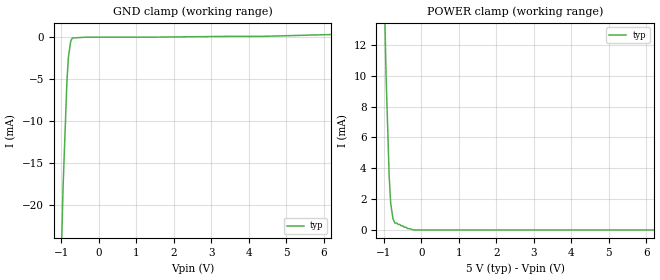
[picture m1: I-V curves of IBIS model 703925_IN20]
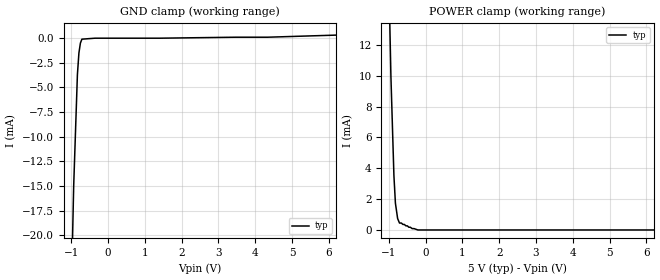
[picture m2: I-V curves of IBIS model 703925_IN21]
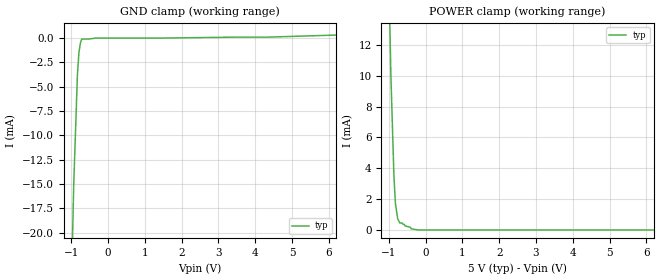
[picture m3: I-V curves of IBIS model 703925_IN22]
| YOU ARE ONLY AUTHORIZED TO USE THIS SOFTWARE
| ACCORDING TO LICENSOR'S LICENSE RESTRICTIONS.
[IBIS Ver] 3.1
[File Name] mc100ep101fa_5v.ibs
[File Rev] 2.0
[Source] Measured and created by ICX Technology
[Date] Friday 6/1/01 3:31:09 PM
[Copyright]
| (C) COPYRIGHT 1993-2001
| MENTOR GRAPHICS CORPORATION
| ICX STANDARD LIBRARY, ICX PROJECT MODELING,
| ICX CUSTOM MODELING, ICX VENDOR MODEL
| ALL RIGHTS RESERVED.
| THE FOLLOWING ARE TRADEMARKS OR SERVICE MARKS OF
| MENTOR GRAPHICS CORPORATION:ICX (R), ICX STANDARD
| LIBRARY(R), ICX PROJECT MODELING(R), ICX CUSTOM
| MODELING(R), qualityIBIS(TM), MODELVIEWER(TM),
| AND MODELEDITOR(TM)
| ALL COPIES OF SOFTWARE, INCLUDING BUT NOT LIMITED TO
| ANY MODIFICATIONS, ENHANCEMENTS OR DERIVATIVE WORKS,
| MUST CONTAIN ALL MENTOR GRAPHICS CORPORATION'S
| NOTICES AND LEGENDS, INCLUDING THOSE EMBEDDED IN
| SOFTWARE AND THOSE AFFIXED TO SOFTWARE MEDIUM
| AND CONTAINER, AS RECEIVED FROM MENTOR GRAPHICS
| CORPORATION.
|  ZAP Model Builder 3.1
[Component] MC100EP101FA_5v
[Manufacturer] OnSemico
[Package]
| variable   typ   min   max
R_pkg  .067ohms NA NA
L_pkg  4.211nH NA NA
C_pkg  1.002pF NA NA
[Pin] signal_name  model_name  R_pin  L_pin C_pin
1 VCC POWER .065 3.973n .928p
2 _Q1 703925_OUT2 .066 4.127n .978p
3 Q1 703925_OUT7 .068 4.288n 1.027p
4 _Q2 703925_OUT2 .069 4.455n 1.077p
5 Q2 703925_OUT7 .069 4.455n 1.077p
6 _Q3 703925_OUT2 .068 4.288n 1.027p
7 Q3 703925_OUT7 .066 4.127n .978p
8 VCC POWER .065 3.973n .928p
9 NC NC .065 3.973n .928p
10 VEE GND .066 4.127n .978p
11 D3D 703925_IN20 .068 4.288n 1.027p
12 D3C 703925_IN21 .069 4.455n 1.077p
13 VCC POWER .069 4.455n 1.077p
14 D3B 703925_IN22 .068 4.288n 1.027p
15 D3A 703925_IN23 .066 4.127n .978p
16 D2D 703925_IN20 .065 3.973n .928p
17 D2C 703925_IN21 .065 3.973n .928p
18 D2B 703925_IN22 .066 4.127n .978p
19 D2A 703925_IN23 .068 4.288n 1.027p
20 D1D 703925_IN20 .069 4.455n 1.077p
21 D1C 703925_IN21 .069 4.455n 1.077p
22 D1B 703925_IN22 .068 4.288n 1.027p
23 D1A 703925_IN23 .066 4.127n .978p
24 D0D 703925_IN20 .065 3.973n .928p
25 D0C 703925_IN21 .065 3.973n .928p
26 D0B 703925_IN22 .066 4.127n .978p
27 D0A 703925_IN23 .068 4.288n 1.027p
28 VEE GND .069 4.455n 1.077p
29 _Q0 703925_OUT2 .069 4.455n 1.077p
30 Q0 703925_OUT7 .068 4.288n 1.027p
31 VCC POWER .066 4.127n .978p
32 VCC POWER .065 3.973n .928p
| Models and submodels in the file (6): 703925_IN20 (Input_ECL), 703925_IN21 (Input_ECL), 703925_IN22 (Input_ECL), 703925_IN23 (Input_ECL), 703925_OUT2 (Output_ECL), 703925_OUT7 (Output_ECL)
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| (C) COPYRIGHT 1993-2001
| MENTOR GRAPHICS CORPORATION
| ICX STANDARD LIBRARY, ICX PROJECT MODELING,
| ICX CUSTOM MODELING, ICX VENDOR MODEL
| ALL RIGHTS RESERVED.
| THE FOLLOWING ARE TRADEMARKS OR SERVICE MARKS OF
| MENTOR GRAPHICS CORPORATION:ICX (R), ICX STANDARD
| LIBRARY(R), ICX PROJECT MODELING(R), ICX CUSTOM
| MODELING(R), qualityIBIS(TM), MODELVIEWER(TM),
| AND MODELEDITOR(TM)
| ALL COPIES OF SOFTWARE, INCLUDING BUT NOT LIMITED TO
| ANY MODIFICATIONS, ENHANCEMENTS OR DERIVATIVE WORKS,
| MUST CONTAIN ALL MENTOR GRAPHICS CORPORATION'S
| NOTICES AND LEGENDS, INCLUDING THOSE EMBEDDED IN
| SOFTWARE AND THOSE AFFIXED TO SOFTWARE MEDIUM
| AND CONTAINER, AS RECEIVED FROM MENTOR GRAPHICS
| CORPORATION.
| Model Application Version 1.89 2/18/99.
[Model] 703925_IN20
Model_type Input_ECL
Vinl = 3.375V
Vinh = 3.775V
C_comp 4.000pF NA NA
| variable typ   min   max
[Voltage Range] 5.000V NA NA
[GND Clamp Reference] 0.000V NA NA
[POWER Clamp Reference] 5.000V NA NA
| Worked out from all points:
|   GND clamp passes 1 mA (typ) near -0.77 V on its own axis
|   POWER clamp passes 1 mA (typ) near -0.77 V on its own axis
[GND Clamp]
-5V       -887.5mA   NA         NA
-1.074V   -38.7mA    NA         NA
-952mV    -17.7mA    NA         NA
-851mV    -5.3mA     NA         NA
-811mV    -2.4mA     NA         NA
-750mV    -500uA     NA         NA
-709mV    -100uA     NA         NA
-354.5mV  0A         NA         NA
1.409V    0A         NA         NA
3.486V    100uA      NA         NA
4.348V    100uA      NA         NA
10V       756.1uA    NA         NA
[POWER Clamp]
-5V       580.8mA    NA         NA
-1.061V   23.7mA     NA         NA
-939mV    9.915mA    NA         NA
-858mV    3.525mA    NA         NA
-817mV    1.729mA    NA         NA
-757mV    736.4uA    NA         NA
-706mV    448.2uA    NA         NA
-655mV    448.2uA    NA         NA
-614.5mV  357.6uA    NA         NA
-361.5mV  88.16uA    NA         NA
-207.3mV  0A         NA         NA
10V       0A         NA         NA
| (C) COPYRIGHT 1993-2001
| MENTOR GRAPHICS CORPORATION
| ICX STANDARD LIBRARY, ICX PROJECT MODELING,
| ICX CUSTOM MODELING, ICX VENDOR MODEL
| ALL RIGHTS RESERVED.
| THE FOLLOWING ARE TRADEMARKS OR SERVICE MARKS OF
| MENTOR GRAPHICS CORPORATION:ICX (R), ICX STANDARD
| LIBRARY(R), ICX PROJECT MODELING(R), ICX CUSTOM
| MODELING(R), qualityIBIS(TM), MODELVIEWER(TM),
| AND MODELEDITOR(TM)
| ALL COPIES OF SOFTWARE, INCLUDING BUT NOT LIMITED TO
| ANY MODIFICATIONS, ENHANCEMENTS OR DERIVATIVE WORKS,
| MUST CONTAIN ALL MENTOR GRAPHICS CORPORATION'S
| NOTICES AND LEGENDS, INCLUDING THOSE EMBEDDED IN
| SOFTWARE AND THOSE AFFIXED TO SOFTWARE MEDIUM
| AND CONTAINER, AS RECEIVED FROM MENTOR GRAPHICS
| CORPORATION.
| Model Application Version 1.89 2/18/99.
[Model] 703925_IN21
Model_type Input_ECL
Vinl = 3.375V
Vinh = 3.775V
C_comp 4.000pF NA NA
| variable typ   min   max
[Voltage Range] 5.000V NA NA
[GND Clamp Reference] 0.000V NA NA
[POWER Clamp Reference] 5.000V NA NA
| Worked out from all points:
|   GND clamp passes 1 mA (typ) near -0.77 V on its own axis
|   POWER clamp passes 1 mA (typ) near -0.77 V on its own axis
[GND Clamp]
-5V       -876.8mA   NA         NA
-1.074V   -39.1mA    NA         NA
-932mV    -15mA      NA         NA
-831mV    -3.7mA     NA         NA
-790mV    -1.5mA     NA         NA
-750mV    -500uA     NA         NA
-709mV    -100uA     NA         NA
-354.5mV  0A         NA         NA
1.399V    0A         NA         NA
3.466V    100uA      NA         NA
4.338V    100uA      NA         NA
10V       749.7uA    NA         NA
[POWER Clamp]
-5V       572.4mA    NA         NA
-1.061V   23.6mA     NA         NA
-939mV    9.916mA    NA         NA
-858mV    3.526mA    NA         NA
-817mV    1.73mA     NA         NA
-757mV    737.1uA    NA         NA
-706mV    448.8uA    NA         NA
-655mV    448.8uA    NA         NA
-614.5mV  358.1uA    NA         NA
-361.5mV  88.3uA     NA         NA
-207.3mV  0A         NA         NA
10V       0A         NA         NA
| (C) COPYRIGHT 1993-2001
| MENTOR GRAPHICS CORPORATION
| ICX STANDARD LIBRARY, ICX PROJECT MODELING,
| ICX CUSTOM MODELING, ICX VENDOR MODEL
| ALL RIGHTS RESERVED.
| THE FOLLOWING ARE TRADEMARKS OR SERVICE MARKS OF
| MENTOR GRAPHICS CORPORATION:ICX (R), ICX STANDARD
| LIBRARY(R), ICX PROJECT MODELING(R), ICX CUSTOM
| MODELING(R), qualityIBIS(TM), MODELVIEWER(TM),
| AND MODELEDITOR(TM)
| ALL COPIES OF SOFTWARE, INCLUDING BUT NOT LIMITED TO
| ANY MODIFICATIONS, ENHANCEMENTS OR DERIVATIVE WORKS,
| MUST CONTAIN ALL MENTOR GRAPHICS CORPORATION'S
| NOTICES AND LEGENDS, INCLUDING THOSE EMBEDDED IN
| SOFTWARE AND THOSE AFFIXED TO SOFTWARE MEDIUM
| AND CONTAINER, AS RECEIVED FROM MENTOR GRAPHICS
| CORPORATION.
| Model Application Version 1.89 2/18/99.
[Model] 703925_IN22
Model_type Input_ECL
Vinl = 3.375V
Vinh = 3.775V
C_comp 4.000pF NA NA
| variable typ   min   max
[Voltage Range] 5.000V NA NA
[GND Clamp Reference] 0.000V NA NA
[POWER Clamp Reference] 5.000V NA NA
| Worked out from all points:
|   GND clamp passes 1 mA (typ) near -0.77 V on its own axis
|   POWER clamp passes 1 mA (typ) near -0.77 V on its own axis
[GND Clamp]
-5V       -888.1mA   NA         NA
-1.074V   -39.3mA    NA         NA
-932mV    -15.2mA    NA         NA
-831mV    -3.8mA     NA         NA
-790mV    -1.5mA     NA         NA
-750mV    -500uA     NA         NA
-714.2mV  -100uA     NA         NA
-339.2mV  0A         NA         NA
4.338V    100uA      NA         NA
10V       749.7uA    NA         NA
[POWER Clamp]
-5V       569.7mA    NA         NA
-1.061V   23.7mA     NA         NA
-939mV    9.916mA    NA         NA
-858mV    3.526mA    NA         NA
-818mV    1.73mA     NA         NA
-757mV    737.1uA    NA         NA
-696mV    451.1uA    NA         NA
-635mV    451.1uA    NA         NA
-412mV    176.7uA    NA         NA
-392mV    79uA       NA         NA
-196mV    0A         NA         NA
10V       0A         NA         NA
